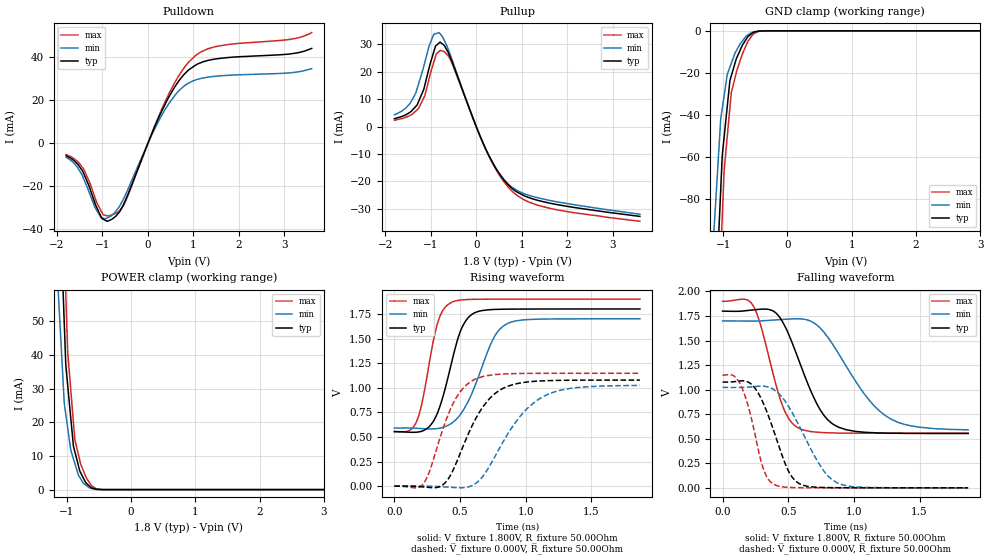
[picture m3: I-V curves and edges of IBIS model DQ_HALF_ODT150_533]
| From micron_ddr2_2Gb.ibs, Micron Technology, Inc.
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|   MODEL DQ_HALF_ODT150_533  (Half-Strength IO Driver with 150 Ohm ODT)
[Model]   DQ_HALF_ODT150_533
Model_type   I/O
Vinl = 650.000mV
Vinh = 1.150V
Vmeas = 900.000mV
Vref = 900.000mV
Cref = 0.0pF
Rref = 25.000Ohm
|   typ   min   max
C_comp   2.930pF   2.691pF   3.156pF
| Note: C_comp increases when the ODT circuit is enabled.
[Model Spec]
| Measurement voltage corners
Vmeas   0.900V   0.850V   0.950V
| Input threshold voltage corners
Vinl   0.650V   0.600V   0.700V
Vinh   1.150V   1.100V   1.200V
| Timing spec test load voltage corners
Vref   0.900V   0.850V   0.950V
[Receiver Thresholds]
Vth   =  0.900V
Vth_min  =  0.882V
Vth_max  =  0.918V
Vinh_ac  =  0.250V
Vinh_dc  =  0.125V
Vinl_ac  = -0.250V
Vinl_dc  = -0.125V
Tslew_ac =  5.000ns |Not specified, so set to high value
Threshold_sensitivity = 0.50
Reference_supply Pullup_ref
[Voltage Range]   1.800V   1.700V   1.900V
[Pullup Reference]   1.800V   1.700V   1.900V
| Junction Temperature (Ambient temp is 25C typ, 85C min, 0C max)
[Temperature Range]   40.0   100.0   0.0
[Add Submodel]
| Submodel Name   Mode
150ohm_ODT_533   Non-Driving
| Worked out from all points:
|   slope of the pulldown table from 0 to 0.27 V, typ, clamps not added: 20.1 ohm
|   slope of the pullup table from 0 to 0.27 V, typ, clamps not added: 26.2 ohm
|   GND clamp passes 1 mA (typ) near -0.54 V on its own axis
|   POWER clamp passes 1 mA (typ) near -0.64 V on its own axis
|   falling waveform, V_fixture 1.800V, R_fixture 50.00Ohm: 20-80 % time 232ps typ, 341ps min, 165ps max; typ from 1.8 V to 0.554 V
|   rising waveform, V_fixture 1.800V, R_fixture 50.00Ohm: 20-80 % time 152ps typ, 204ps min, 117ps max; typ from 0.554 V to 1.8 V
|   rising waveform, V_fixture 0.000V, R_fixture 50.00Ohm: 20-80 % time 243ps typ, 312ps min, 193ps max; typ from 0 V to 1.08 V
|   falling waveform, V_fixture 0.000V, R_fixture 50.00Ohm: 20-80 % time 176ps typ, 247ps min, 126ps max; typ from 1.08 V to 0 V
[Pulldown]
|   Voltage   I(typ)   I(min)   I(max)
-1.8V     -5.808mA   -6.512mA   -5.258mA
-1.555V   -9.513mA   -11.03mA   -8.409mA
-1.415V   -14.02mA   -16.51mA   -11.96mA
-1.04V    -33.79mA   -34.35mA   -31.08mA
-985mV    -35.31mA   -34.83mA   -33.29mA
-795mV    -35.39mA   -33.49mA   -33.37mA
-535mV    -28.47mA   -25.8mA    -28.85mA
365mV     17.58mA    15.29mA    18.68mA
895mV     34.07mA    27.96mA    37.7mA
1.44V     38.98mA    31.02mA    44.63mA
3.135V    41.51mA    32.72mA    48.27mA
3.6V      44.05mA    34.66mA    51.41mA
[GND Clamp]
|   Voltage   I(typ)   I(min)   I(max)
-1.8V     -760.2mA   -639.4mA   -858.5mA
-1.15V    -151.6mA   -98.58mA   -195.4mA
-1.13V    -138mA     -88.47mA   -176.5mA
-1.035V   -73.57mA   -41.23mA   -104.4mA
-1.015V   -60mA      -37.09mA   -89.27mA
-1.01V    -58mA      -36.05mA   -85.48mA
-985mV    -50.52mA   -30.88mA   -66.68mA
-935mV    -35.58mA   -20.66mA   -49.9mA
-875mV    -21.56mA   -15.58mA   -29.77mA
-695mV    -6.54mA    -4.587mA   -10.55mA
-555mV    -1.288mA   -748uA     -2.399mA
3.6V      0A         0A         0A
[Pullup]
|   Voltage   I(typ)   I(min)   I(max)
-1.8V     2.882mA    4.295mA    2.305mA
-1.455V   5.208mA    8.409mA    4.076mA
-1.27V    8.963mA    15.4mA     6.507mA
-1.13V    15.06mA    23.37mA    11.23mA
-940mV    26.82mA    33.39mA    23.05mA
-815mV    30.46mA    34.2mA     27.34mA
-700mV    29.51mA    31.31mA    27.25mA
-535mV    23.76mA    24.54mA    23.2mA
225mV     -8.712mA   -8.766mA   -8.84mA
700mV     -21.17mA   -20.86mA   -21.97mA
1.435V    -27.21mA   -26.25mA   -29.01mA
3.6V      -32.71mA   -31.92mA   -34.5mA
[POWER Clamp]
|   Voltage   I(typ)   I(min)   I(max)
-1.8V     607.7mA    524.8mA    658.9mA
-1.13V    97.76mA    58.43mA    126mA
-1.04V    50.69mA    26.46mA    73.27mA
-1.015V   37.61mA    22.51mA    58.62mA
-985mV    31.11mA    18.4mA     41.18mA
-935mV    20.99mA    11.65mA    29.36mA
-895mV    12.91mA    9.147mA    19.9mA
-875mV    11.42mA    7.894mA    15.18mA
-795mV    5.455mA    3.578mA    8.546mA
-640mV    928.8uA    437uA      1.889mA
-435mV    4.348uA    7.985uA    10.8uA
3.6V      0A         0A         0A
[Ramp]
R_load = 50.00Ohm
|   typ   min   max
dV/dt_r   646.347mV/242.527ps 613.835mV/311.701ps 687.991mV/192.804ps
dV/dt_f   747.622mV/232.353ps 665.562mV/341.022ps 806.121mV/164.571ps
[Falling Waveform]
V_fixture = 1.800V
V_fixture_min = 1.700V
V_fixture_max = 1.900V
R_fixture = 50.00Ohm
|   Time   V(typ)   V(min)   V(max)
0s        1.8V       1.7V       1.9V
230ps     1.812V     1.698V     1.862V
290ps     1.819V     1.7V       1.656V
420ps     1.761V     1.712V     986.2mV
500ps     1.574V     1.719V     713.3mV
590ps     1.266V     1.721V     601.7mV
740ps     802.7mV    1.632V     565.1mV
880ps     620mV      1.374V     558.4mV
1.25ns    557.6mV    726.4mV    556.4mV
1.87ns    553.6mV    590.8mV    556.3mV
[Rising Waveform]
V_fixture = 1.800V
V_fixture_min = 1.700V
V_fixture_max = 1.900V
R_fixture = 50.00Ohm
|   Time   V(typ)   V(min)   V(max)
0s        553.6mV    590.8mV    556.3mV
170ps     548.5mV    588mV      659.5mV
210ps     559.1mV    584.9mV    840.4mV
330ps     748.3mV    586.4mV    1.66V
430ps     1.223V     634.2mV    1.864V
500ps     1.563V     723.2mV    1.89V
570ps     1.722V     882.3mV    1.896V
750ps     1.794V     1.489V     1.899V
840ps     1.798V     1.636V     1.9V
1.87ns    1.8V       1.7V       1.9V
[Rising Waveform]
V_fixture = 0.000V
V_fixture_min = 0.000V
V_fixture_max = 0.000V
R_fixture = 50.00Ohm
|   Time   V(typ)   V(min)   V(max)
0s        274.2uV    11.54uV    77.97uV
220ps     -7.256mV   1.268mV    23.47mV
370ps     15.04mV    -6.335mV   581.8mV
480ps     263.5mV    -15.14mV   916.9mV
620ps     686.6mV    29.22mV    1.089V
800ps     973.3mV    384.2mV    1.137V
950ps     1.046V     696.7mV    1.145V
1.1ns     1.068V     884.1mV    1.146V
1.34ns    1.076V     993.7mV    1.147V
1.87ns    1.078V     1.023V     1.147V
[Falling Waveform]
V_fixture = 0.000V
V_fixture_min = 0.000V
V_fixture_max = 0.000V
R_fixture = 50.00Ohm
|   Time   V(typ)   V(min)   V(max)
0s        1.078V     1.023V     1.147V
140ps     1.09V      1.022V     1.042V
230ps     1.042V     1.03V      647.1mV
310ps     861.9mV    1.036V     195.7mV
400ps     540.1mV    992mV      30.18mV
490ps     204.1mV    855.1mV    5.907mV
560ps     66.05mV    691.4mV    2.277mV
750ps     4.407mV    212.6mV    525.5uV
870ps     1.842mV    53.12mV    309.7uV
1.87ns    274.2uV    11.54uV    77.97uV
